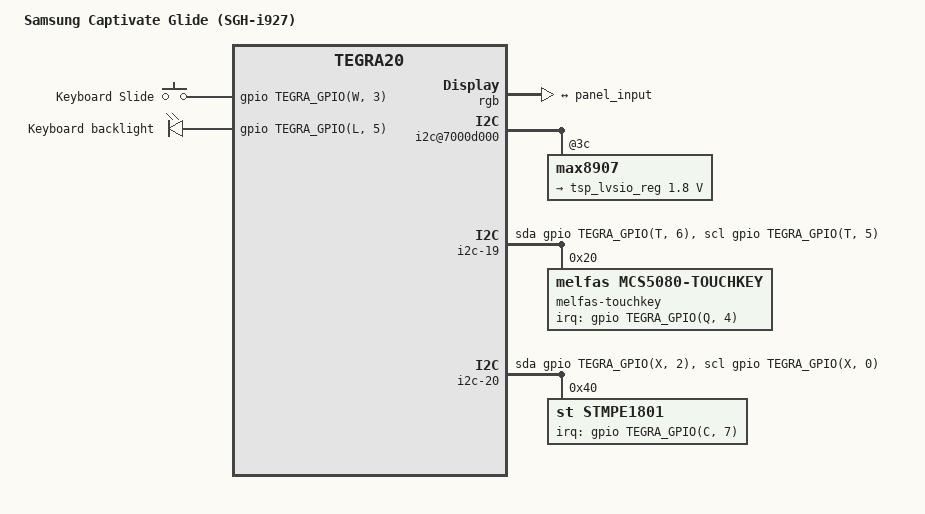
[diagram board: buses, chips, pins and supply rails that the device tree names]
// SPDX-License-Identifier: GPL-2.0
/dts-v1/;

#include "tegra20-samsung-n1-common.dtsi"

/ {
	model = "Samsung Captivate Glide (SGH-i927)";
	compatible = "samsung,bose", "nvidia,tegra20";

	aliases {
		spi0 = &panel_spi;
	};

	host1x@50000000 {
		dc@54200000 {
			rgb {
				status = "okay";

				port {
					dpi_output: endpoint {
						remote-endpoint = <&panel_input>;
						bus-width = <24>;
					};
				};
			};
		};
		
#if 0
/* TODO review all this again, gpios seems to be correct */
		hdmi@54280000 {
			status = "okay";

			vdd-supply = <&hdmi_vdd_reg>;
			pll-supply = <&hdmi_pll_reg>;
			hdmi-supply = <&vdd_5v0_hdmi>;

			nvidia,ddc-i2c-bus = <&hdmi_ddc>;
			nvidia,hpd-gpio = <&gpio TEGRA_GPIO(N, 7) GPIO_ACTIVE_HIGH>;

			port {
				hdmi_to_mhl: endpoint {
					remote-endpoint = <&mhl_to_hdmi>;
				};
			};
		};
#endif
	};
	
#if 0
//TODO is this still true?
	i2cmux {
		i2c@0 {
			mxt224e@4a {
				/* VDD LVSIO (level shifter) is not yet
				 * implemented in maxtouch driver
				 * TODO: lvsio-supply = <&tsp_lvsio_reg>;
				 */
			};
		};
	};
#endif

	i2c@7000c500 {
		/* Not supported - no DT binding */
		/* m5mo@1f {
			reg = <0x1f>;
			reset-gpios = <&gpio TEGRA_GPIO(D, 2) GPIO_ACTIVE_HIGH>;
		};
		*/
	};

	i2c@7000d000 {
		max8907@3c {
			regulators {
				tsp_lvsio_reg: ldo15 {
					regulator-name = "tsp_vdd_lvsio";
					regulator-min-microvolt = <1800000>;
					regulator-max-microvolt = <1800000>;
				};
			};
		};
	};

#if 0
/* TODO review all this again, gpios seems to be correct */
	i2c-5 {
		max17043@36 {x
			power-supplies = <&usb_ta_charger>;
		};
	};

	hdmi_ddc: i2c-13 {
		compatible = "i2c-gpio";
		sda-gpios = <&gpio TEGRA_GPIO(D, 4) (GPIO_ACTIVE_HIGH | GPIO_OPEN_DRAIN)>;
		scl-gpios = <&gpio TEGRA_GPIO(D, 3) (GPIO_ACTIVE_HIGH | GPIO_OPEN_DRAIN)>;
		i2c-gpio,delay-us = <5>;
		#address-cells = <1>;
		#size-cells = <0>;
	};

	i2c-14 {
		/* MHL i2c */
		compatible = "i2c-gpio";
		sda-gpios = <&gpio TEGRA_GPIO(K, 3) (GPIO_ACTIVE_HIGH | GPIO_OPEN_DRAIN)>;
		scl-gpios = <&gpio TEGRA_GPIO(J, 0) (GPIO_ACTIVE_HIGH | GPIO_OPEN_DRAIN)>;
		i2c-gpio,delay-us = <5>;
		#address-cells = <1>;
		#size-cells = <0>;

		sii9234@39 {
			compatible = "sil,sii9234";
			reg = <0x39>;
			avcc33-supply = <&vcc_3v3_mhl>;
			iovcc18-supply = <&vcc_1v8_mhl>;
			avcc12-supply = <&vdd_hdmi_ldo>;
			cvcc12-supply = <&vdd_hdmi_ldo>;
			interrupt-parent = <&gpio>;
			interrupts = <TEGRA_GPIO(H, 0) IRQ_TYPE_LEVEL_HIGH>;
			reset-gpios = <&gpio TEGRA_GPIO(H, 1) GPIO_ACTIVE_LOW>;

			ports {
				#address-cells = <1>;
				#size-cells = <0>;

				port@0 {
					reg = <0>;
					mhl_to_hdmi: endpoint {
						remote-endpoint = <&hdmi_to_mhl>;
					};
				};

				port@1 {
					reg = <1>;
					// FIXME TODO!
				};
			};
		};
	};

	i2c-16 {
		//TODO this only accounts rev6 onwards, prev ones seem to have it in i2c3
		//TODO also is max8893? downstream says m5mo
		/* Cameras PMIC i2c */
		compatible = "i2c-gpio";
		sda-gpios = <&gpio TEGRA_GPIO(L, 7) (GPIO_ACTIVE_HIGH | GPIO_OPEN_DRAIN)>;
		scl-gpios = <&gpio TEGRA_GPIO(L, 6) (GPIO_ACTIVE_HIGH | GPIO_OPEN_DRAIN)>;
		i2c-gpio,delay-us = <5>;
		#address-cells = <1>;
		#size-cells = <0>;

		max8893@3e {
			compatible = "maxim,max8893";
			reg = <0x3e>;

			regulators {
				/* Front camera - s5k6aafx, back - m5mo */
				/* Numbers used to indicate the sequence */
				front_1_back_1: buck {
					regulator-name = "cam_isp_core_1v2";
					regulator-min-microvolt = <1200000>;
					regulator-max-microvolt = <1200000>;
				};

				front_4_back_5: ldo1 {
					regulator-name = "vt_io_1v8,cam_isp_1v8";
					regulator-min-microvolt = <1800000>;
					regulator-max-microvolt = <1800000>;
				};

				front_3_back_4: ldo2 {
					regulator-name = "vt_core_1v5";
					regulator-min-microvolt = <1500000>;
					regulator-max-microvolt = <1500000>;
				};

				front_5_back_6: ldo3 {
					regulator-name = "vt_cam_1v8,vt_sensor_io_1v8";
					regulator-min-microvolt = <1800000>;
					regulator-max-microvolt = <1800000>;
				};

				ldo4 {
					/* not used */
				};

				back_7: ldo5 {
					regulator-name = "cam_sensor_io_1v8";
					regulator-min-microvolt = <1800000>;
					regulator-max-microvolt = <1800000>;
				};
			};
		};
	};
	
	i2c-17 {
		sda-gpios = <&gpio TEGRA_GPIO(Z, 3) (GPIO_ACTIVE_HIGH | GPIO_OPEN_DRAIN)>;
		scl-gpios = <&gpio TEGRA_GPIO(C, 6) (GPIO_ACTIVE_HIGH | GPIO_OPEN_DRAIN)>;
	};
#endif

	i2c-19 {
		/* Touch buttons i2c */
		compatible = "i2c-gpio";
		sda-gpios = <&gpio TEGRA_GPIO(T, 6) (GPIO_ACTIVE_HIGH | GPIO_OPEN_DRAIN)>;
		scl-gpios = <&gpio TEGRA_GPIO(T, 5) (GPIO_ACTIVE_HIGH | GPIO_OPEN_DRAIN)>;
		i2c-gpio,delay-us = <5>;
		#address-cells = <1>;
		#size-cells = <0>;

		melfas-touchkey@20 {
			compatible = "melfas,mcs5080-touchkey";
			reg = <0x20>;
			interrupt-parent = <&gpio>;
			interrupts = <TEGRA_GPIO(Q, 4) IRQ_TYPE_EDGE_FALLING>;
			key_maxval = <4>;
			linux,code = <KEY_MENU KEY_HOMEPAGE KEY_BACK KEY_SEARCH>;
		};
	};

	i2c-20 {
		/* Keyboard i2c */
		compatible = "i2c-gpio";
		sda-gpios = <&gpio TEGRA_GPIO(X, 2) (GPIO_ACTIVE_HIGH | GPIO_OPEN_DRAIN)>;
		scl-gpios = <&gpio TEGRA_GPIO(X, 0) (GPIO_ACTIVE_HIGH | GPIO_OPEN_DRAIN)>;
		i2c-gpio,delay-us = <5>;
		#address-cells = <1>;
		#size-cells = <0>;

		stmpe1801@40 {
			compatible = "st,stmpe1801";
			reg = <0x40>;
			interrupt-parent = <&gpio>;
			interrupts = <TEGRA_GPIO(C, 7) IRQ_TYPE_EDGE_FALLING>;

			stmpe_keypad {
				compatible = "st,stmpe-keypad";
				debounce-interval = <10>;
				st,scan-count = <5>;
				st,no-autorepeat;
				keypad,num-rows = <8>;
				keypad,num-columns = <6>;

				linux,keymap = <
					/* row, col, code */
					MATRIX_KEY(0, 0, KEY_R)
					MATRIX_KEY(0, 1, KEY_G)
					MATRIX_KEY(0, 2, KEY_V)
					MATRIX_KEY(0, 3, KEY_LEFTMETA)
					MATRIX_KEY(0, 4, KEY_MENU)
					MATRIX_KEY(0, 5, KEY_HOME)

					MATRIX_KEY(1, 0, KEY_T)
					MATRIX_KEY(1, 1, KEY_H)
					MATRIX_KEY(1, 2, KEY_B)
					MATRIX_KEY(1, 3, KEY_RIGHTMETA)
					MATRIX_KEY(1, 4, KEY_Q)
					MATRIX_KEY(1, 5, KEY_RIGHTALT /* KEY_FN */)

					MATRIX_KEY(2, 0, KEY_Y)
					MATRIX_KEY(2, 1, KEY_J)
					MATRIX_KEY(2, 2, KEY_N)
					MATRIX_KEY(2, 3, KEY_SPACE)
					MATRIX_KEY(2, 4, KEY_A)
					MATRIX_KEY(2, 5, KEY_LEFTSHIFT)

					MATRIX_KEY(3, 0, KEY_U)
					MATRIX_KEY(3, 1, KEY_K)
					MATRIX_KEY(3, 2, KEY_M)
					MATRIX_KEY(3, 3, KEY_COMMA)
					MATRIX_KEY(3, 4, KEY_S)
					MATRIX_KEY(3, 5, KEY_Z)

					MATRIX_KEY(4, 0, KEY_I)
					MATRIX_KEY(4, 1, KEY_L)
					MATRIX_KEY(4, 2, KEY_LEFT)
					MATRIX_KEY(4, 3, KEY_DOT)
					MATRIX_KEY(4, 4, KEY_W)
					MATRIX_KEY(4, 5, KEY_X)

					MATRIX_KEY(5, 0, KEY_O)
					MATRIX_KEY(5, 1, KEY_UP)
					MATRIX_KEY(5, 2, KEY_ENTER /* KEY_OK */)
					MATRIX_KEY(5, 3, KEY_QUESTION)
					MATRIX_KEY(5, 4, KEY_E)
					MATRIX_KEY(5, 5, KEY_C)

					MATRIX_KEY(6, 0, KEY_P)
					MATRIX_KEY(6, 1, KEY_KPENTER /* KEY_ENTER */)
					MATRIX_KEY(6, 2, KEY_RIGHT)
					MATRIX_KEY(6, 3, KEY_DOWN)
					MATRIX_KEY(6, 4, KEY_D)

					MATRIX_KEY(7, 0, KEY_BACKSPACE /* KEY_DELETE */)
					MATRIX_KEY(7, 1, KEY_BACK)
					MATRIX_KEY(7, 2, KEY_SEARCH)
					MATRIX_KEY(7, 3, KEY_WWW)
					MATRIX_KEY(7, 4, KEY_F)
					MATRIX_KEY(7, 5, KEY_RIGHTALT /* KEY_FN */) >;
			};

			stmpegpio: stmpe_gpio {
				compatible = "st,stmpe-gpio";
				st,norequest-mask = <0x7fff>;
				gpio-controller;
				#gpio-cells = <2>;
				interrupt-controller;
				#interrupt-cells = <2>;
			};
		};
	};

	pinmux@70000014 {
		pinctrl-names = "default";
		pinctrl-0 = <&state_default>;

		state_default: pinmux {
			conf-dtf {
				nvidia,pins = "dtf", "spdi", "spib", "spih";
				nvidia,pull = <TEGRA_PIN_PULL_UP>;
				nvidia,tristate = <TEGRA_PIN_DISABLE>;
			};

			conf-gpv {
				nvidia,pins = "gpv";
				nvidia,pull = <TEGRA_PIN_PULL_NONE>;
				nvidia,tristate = <TEGRA_PIN_DISABLE>;
			};

			conf-kbcd {
				nvidia,pins = "kbcd";
				nvidia,pull = <TEGRA_PIN_PULL_NONE>;
				nvidia,tristate = <TEGRA_PIN_DISABLE>;
			};

			drive-dap {
				nvidia,pins = "drive_dap2", "drive_dap3";
				nvidia,high-speed-mode = <TEGRA_PIN_ENABLE>;
				nvidia,schmitt = <TEGRA_PIN_ENABLE>;
				nvidia,low-power-mode = <TEGRA_PIN_LP_DRIVE_DIV_1>;
				nvidia,pull-down-strength = <31>;
				nvidia,pull-up-strength = <31>;
				nvidia,slew-rate-rising = <TEGRA_PIN_SLEW_RATE_SLOWEST>;
				nvidia,slew-rate-falling = <TEGRA_PIN_SLEW_RATE_SLOWEST>;
			};
		};
	};

	memory-controller@7000f400 {
		nvidia,use-ram-code;
		//TODO
	};

	panel_spi: spi@7000d800 {
		status = "okay";
		spi-max-frequency = <1000000>;

		panel: panel@2 {
			/* 480x800 AMOLED panel */
			compatible = "samsung,bose-panel", "samsung,s6e63m0";
			reg = <2>;

			spi-max-frequency = <1000000>;

			spi-cpol;
			spi-cpha;

			reset-gpios = <&gpio TEGRA_GPIO(C, 1) GPIO_ACTIVE_LOW>;

			vdd3-supply = <&vlcd_1v8_reg>;
			vci-supply = <&vlcd_3v0_reg>;

			panel-width-mm = <52>;
			panel-height-mm = <87>;

			port {
				panel_input: endpoint {
					remote-endpoint = <&dpi_output>;
				};
			};
		};
	};

	sdhci@c8000400 {
		broken-cd;
	};

	gpio-keys {
		compatible = "gpio-keys";

		switch-hall {
			label = "Keyboard Slide";
			gpios = <&gpio TEGRA_GPIO(W, 3) GPIO_ACTIVE_HIGH>;
			linux,input-type = <EV_SW>;
			linux,code = <SW_KEYPAD_SLIDE>;
		};
	};

	leds {
		compatible = "gpio-leds";

		led-kbd {
			label = "Keyboard backlight";
			gpios = <&gpio TEGRA_GPIO(L, 5) GPIO_ACTIVE_HIGH>;
			default-state = "off";
		};
	};
	
#if 0
	sound {
		compatible = "samsung,tegra-audio-wm8994-bose",
					 "nvidia,tegra-audio-wm8994";
		nvidia,model = "Samsung SGH-I927 Captivate Glide WM8994";
	}

	/* TODO check on n1 first with schematics */
	usb_ta_charger: max8922-charger {
		compatible = "maxim,max8903";
		chg-gpios = <&stmpegpio 16 GPIO_ACTIVE_LOW>;
		cen-gpios = <&gpio TEGRA_GPIO(R, 3) GPIO_ACTIVE_LOW>;
		uok-gpios = <&gpio TEGRA_GPIO(T, 0) GPIO_ACTIVE_LOW>;
		/*
		 * Original sources also use FSA9480 for USB charger
		 * detection, but it's on extcon and not GPIO,
		 * so skip it since dok (GPIO_TA_nCONNECTED) works fine.
		 * (specified as uok since USB is detected)
		 */

		// charger_supply: otg-vbus {}; // not implemented yet
	};
#endif
};
